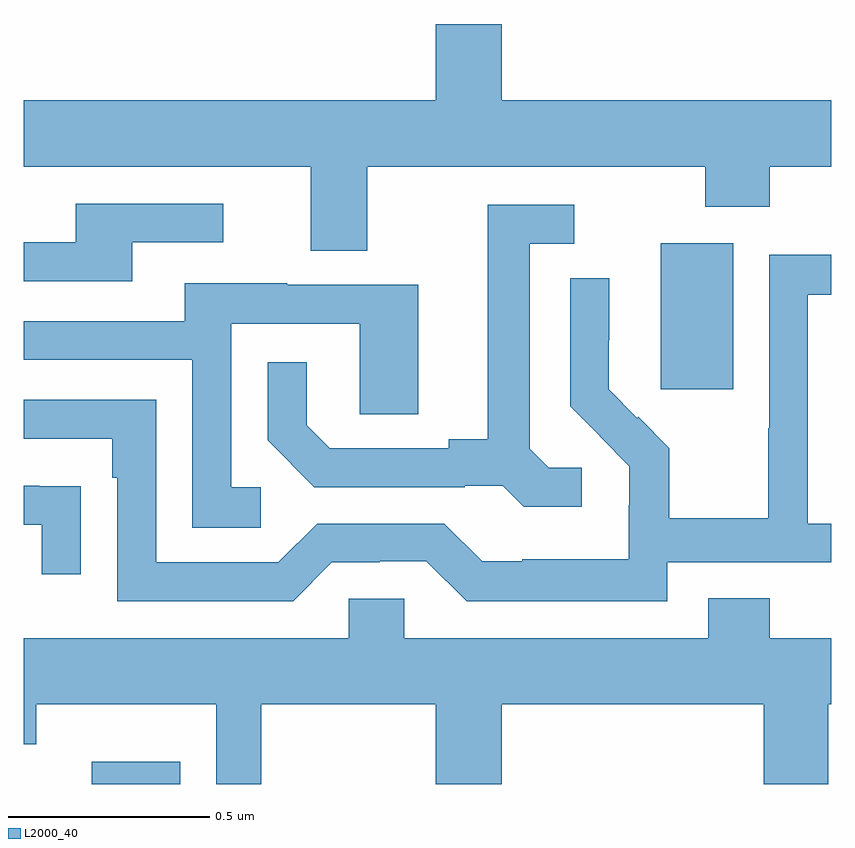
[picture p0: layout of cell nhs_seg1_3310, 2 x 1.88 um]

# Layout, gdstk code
import gdstk
lib = gdstk.Library(unit=1e-6, precision=1e-09)
def R(c, l, rs):  # rectangles x0, y0, x1, y1
    for r in rs: c.add(gdstk.rectangle(r[:2], r[2:], *l))
def P(c, l, *ps):  # polygons
    for p in ps: c.add(gdstk.Polygon(p, *l))
L2000_40 = (2000, 40)

nhs_seg1_3310 = lib.new_cell('nhs_seg1_3310')
R(nhs_seg1_3310, L2000_40, [(152.169,554.199,152.388,554.254), (153.578,555.177,153.757,555.538)])
P(nhs_seg1_3310, L2000_40, [(152.851,555.728),(153.688,555.728),(153.688,555.629),(153.848,555.629),(153.848,555.728),(154,555.728),(154,555.892),(153.184,555.892),(153.184,556.081),(153.02,556.081),(153.02,555.892),(152,555.892),(152,555.728),(152.711,555.728),(152.711,555.52),(152.851,555.52)],
  [(152.269,555.54),(152.494,555.54),(152.494,555.636),(152.129,555.636),(152.129,555.54),(152,555.54),(152,555.444),(152.269,555.444)],
  [(153.382,554.982),(153.3,554.982),(153.253,555.029),(153.253,555.537),(153.364,555.537),(153.364,555.633),(153.149,555.633),(153.149,555.053),(153.053,555.053),(153.053,555.03),(152.758,555.03),(152.701,555.087),(152.701,555.244),(152.604,555.244),(152.604,555.05),(152.72,554.934),(153.092,554.934),(153.092,554.937),(153.186,554.937),(153.238,554.885),(153.382,554.885)],
  [(153.594,554.748),(154,554.748),(154,554.844),(153.942,554.844),(153.942,555.411),(154,555.411),(154,555.51),(153.846,555.51),(153.846,555.08),(153.844,555.08),(153.844,554.857),(153.599,554.857),(153.599,555.031),(153.522,555.108),(153.519,555.105),(153.449,555.176),(153.449,555.298),(153.45,555.298),(153.45,555.452),(153.354,555.452),(153.354,555.134),(153.427,555.061),(153.426,555.06),(153.5,554.986),(153.5,554.889),(153.498,554.889),(153.498,554.755),(153.235,554.755),(153.235,554.751),(153.135,554.751),(153.042,554.844),(152.727,554.844),(152.631,554.748),(152.328,554.748),(152.328,555.15),(152,555.15),(152,555.054),(152.219,555.054),(152.219,554.957),(152.232,554.957),(152.232,554.652),(152.667,554.652),(152.763,554.748),(152.882,554.748),(152.882,554.751),(152.997,554.751),(153.097,554.651),(153.594,554.651)],
  [(152.587,554.934),(152.514,554.934),(152.514,555.339),(152.832,555.339),(152.832,555.115),(152.977,555.115),(152.977,555.435),(152.653,555.435),(152.653,555.439),(152.399,555.439),(152.399,555.345),(152,555.345),(152,555.249),(152.418,555.249),(152.418,554.833),(152.587,554.833)],
  [(152.141,554.936),(152.039,554.936),(152.039,554.937),(152,554.937),(152,554.841),(152.045,554.841),(152.045,554.718),(152.141,554.718)],
  [(152.588,554.396),(153.02,554.396),(153.02,554.199),(153.184,554.199),(153.184,554.396),(153.833,554.396),(153.833,554.199),(153.993,554.199),(153.993,554.396),(154,554.396),(154,554.56),(153.848,554.56),(153.848,554.659),(153.695,554.659),(153.695,554.56),(152.943,554.56),(152.943,554.658),(152.805,554.658),(152.805,554.56),(152,554.56),(152,554.297),(152.031,554.297),(152.031,554.396),(152.477,554.396),(152.477,554.199),(152.588,554.199)])

lib.write_gds('nhs_seg1_3310.gds')
